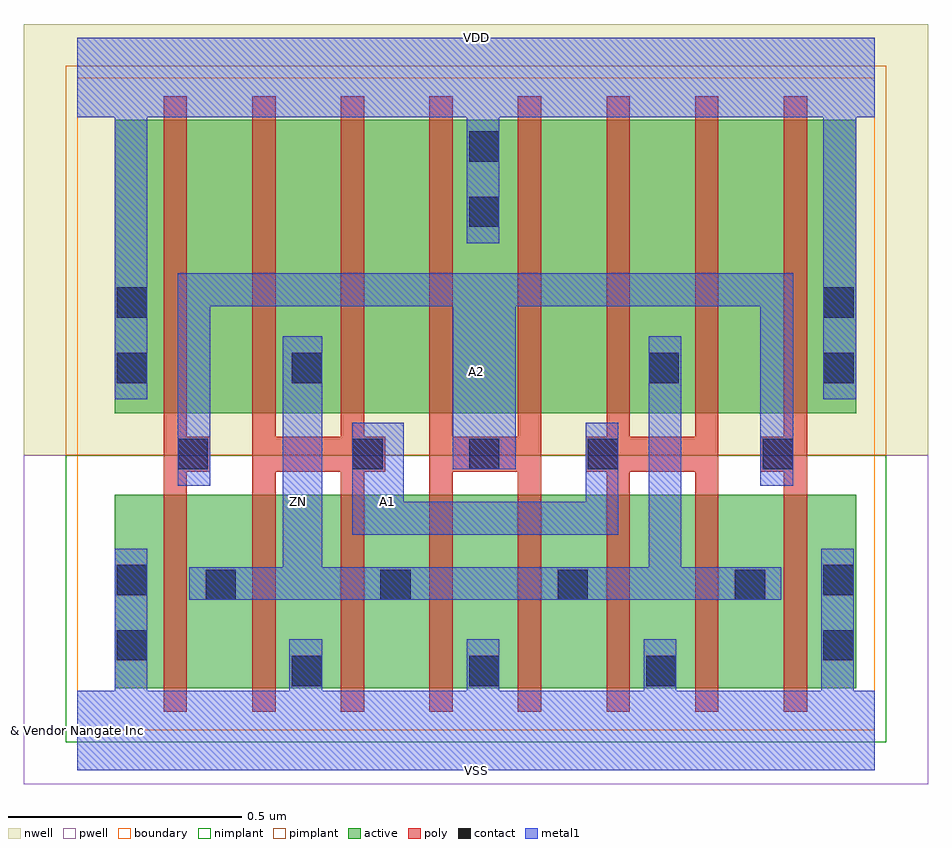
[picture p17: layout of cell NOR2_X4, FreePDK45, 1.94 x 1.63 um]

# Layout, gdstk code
import gdstk
lib = gdstk.Library(unit=1e-6, precision=1e-10)
def R(c, l, rs):  # rectangles x0, y0, x1, y1
    for r in rs: c.add(gdstk.rectangle(r[:2], r[2:], *l))
def A(c, l, x, y, w, h, nx, ny, dx, dy):  # array of equal rectangles
    R(c, l, [(x+i*dx, y+j*dy, x+i*dx+w, y+j*dy+h) for i in range(nx) for j in range(ny)])
def P(c, l, *ps):  # polygons
    for p in ps: c.add(gdstk.Polygon(p, *l))
active = (1, 0)
pwell = (2, 0)
nwell = (3, 0)
nimplant = (4, 0)
pimplant = (5, 0)
poly = (9, 0)
contact = (10, 0)
metal1 = (11, 0)
boundary = (235, 0)

nor2_x4 = lib.new_cell('NOR2_X4')
R(nor2_x4, active, [(0.08,0.09,1.67,0.505), (0.08,0.68,1.67,1.31)])
R(nor2_x4, pwell, [(-0.115,-0.115,1.825,0.59)])
R(nor2_x4, nwell, [(-0.115,0.59,1.825,1.515)])
R(nor2_x4, nimplant, [(-0.025,-0.025,1.735,0.59)])
R(nor2_x4, pimplant, [(-0.025,0.59,1.735,1.425)])
P(nor2_x4, poly, [(0.185,0.04),(0.185,1.36),(0.235,1.36),(0.235,0.63),(0.285,0.63),(0.285,0.555),(0.235,0.555),(0.235,0.04)],
  [(0.375,0.04),(0.375,1.36),(0.425,1.36),(0.425,0.63),(0.565,0.63),(0.565,1.36),(0.615,1.36),(0.615,0.63),(0.66,0.63),(0.66,0.555),(0.615,0.555),(0.615,0.04),(0.565,0.04),(0.565,0.555),(0.425,0.555),(0.425,0.04)],
  [(0.755,0.04),(0.755,1.36),(0.805,1.36),(0.805,0.63),(0.945,0.63),(0.945,1.36),(0.995,1.36),(0.995,0.04),(0.945,0.04),(0.945,0.555),(0.805,0.555),(0.805,0.04)],
  [(1.135,0.04),(1.135,0.555),(1.09,0.555),(1.09,0.63),(1.135,0.63),(1.135,1.36),(1.185,1.36),(1.185,0.63),(1.325,0.63),(1.325,1.36),(1.375,1.36),(1.375,0.04),(1.325,0.04),(1.325,0.555),(1.185,0.555),(1.185,0.04)],
  [(1.515,0.04),(1.515,0.555),(1.465,0.555),(1.465,0.63),(1.515,0.63),(1.515,1.36),(1.565,1.36),(1.565,0.04)])
A(nor2_x4, contact, 0.46, 0.095, 0.065, 0.065, 3, 1, 0.38, 0)
A(nor2_x4, contact, 0.65, 0.28, 0.065, 0.065, 3, 1, 0.38, 0)
R(nor2_x4, contact, [(0.085,0.15,0.15,0.215), (1.6,0.15,1.665,0.215), (0.275,0.28,0.34,0.345), (0.085,0.29,0.15,0.355), (1.6,0.29,1.665,0.355), (0.215,0.56,0.28,0.625), (0.59,0.56,0.655,0.625), (0.84,0.56,0.905,0.625), (1.095,0.56,1.16,0.625), (1.47,0.56,1.535,0.625), (0.085,0.745,0.15,0.81), (0.46,0.745,0.525,0.81), (1.225,0.745,1.29,0.81), (1.6,0.745,1.665,0.81), (0.085,0.885,0.15,0.95), (1.6,0.885,1.665,0.95), (0.84,1.08,0.905,1.145), (0.84,1.22,0.905,1.285)])
P(nor2_x4, metal1, [(0.59,0.42),(0.59,0.66),(0.7,0.66),(0.7,0.49),(1.09,0.49),(1.09,0.66),(1.16,0.66),(1.16,0.42)],
  [(0.24,0.28),(0.24,0.35),(0.44,0.35),(0.44,0.845),(0.525,0.845),(0.525,0.35),(1.225,0.35),(1.225,0.845),(1.295,0.845),(1.295,0.35),(1.51,0.35),(1.51,0.28)],
  [(0.215,0.525),(0.215,0.98),(1.535,0.98),(1.535,0.525),(1.465,0.525),(1.465,0.91),(0.94,0.91),(0.94,0.56),(0.805,0.56),(0.805,0.91),(0.285,0.91),(0.285,0.525)],
  [(0,-0.085),(0,0.085),(0.08,0.085),(0.08,0.39),(0.15,0.39),(0.15,0.085),(0.455,0.085),(0.455,0.195),(0.525,0.195),(0.525,0.085),(0.835,0.085),(0.835,0.195),(0.905,0.195),(0.905,0.085),(1.215,0.085),(1.215,0.195),(1.285,0.195),(1.285,0.085),(1.595,0.085),(1.595,0.39),(1.665,0.39),(1.665,0.085),(1.71,0.085),(1.71,-0.085)],
  [(0.08,0.71),(0.08,1.315),(0,1.315),(0,1.485),(1.71,1.485),(1.71,1.315),(1.67,1.315),(1.67,0.71),(1.6,0.71),(1.6,1.315),(0.905,1.315),(0.905,1.045),(0.835,1.045),(0.835,1.315),(0.15,1.315),(0.15,0.71)])
R(nor2_x4, boundary, [(0,0,1.71,1.4)])
nor2_x4.add(gdstk.Label('A1', (0.665,0.49), layer=11, texttype=0))
nor2_x4.add(gdstk.Label('A2', (0.855,0.77), layer=11, texttype=0))
nor2_x4.add(gdstk.Label('VDD', (0.855,1.485), layer=11, texttype=0))
nor2_x4.add(gdstk.Label('VSS', (0.855,-0.085), layer=11, texttype=0))
nor2_x4.add(gdstk.Label('ZN', (0.475,0.49), layer=11, texttype=0))
nor2_x4.add(gdstk.Label('& Vendor Nangate Inc', (0,0), layer=63, texttype=63))
nor2_x4.add(gdstk.Label('& Product Open Cell Library', (0,0), layer=63, texttype=63))
nor2_x4.add(gdstk.Label('& Version 2010_12', (0,0), layer=63, texttype=63))
nor2_x4.add(gdstk.Label('& Instance NOR2_X4', (0,0), layer=63, texttype=63))

lib.write_gds('NOR2_X4.gds')
